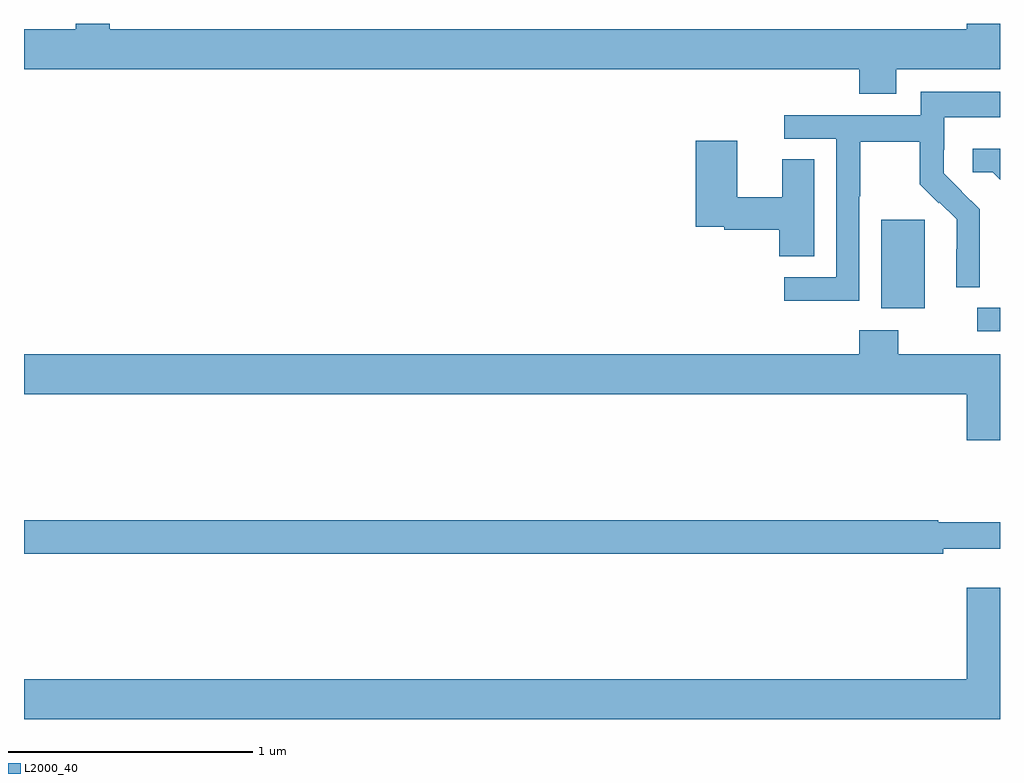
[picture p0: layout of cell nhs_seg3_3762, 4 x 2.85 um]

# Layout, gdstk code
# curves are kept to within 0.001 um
import gdstk
lib = gdstk.Library(unit=1e-6, precision=1e-09)
def R(c, l, rs):  # rectangles x0, y0, x1, y1
    for r in rs: c.add(gdstk.rectangle(r[:2], r[2:], *l))
def P(c, l, *ps):  # polygons
    for p in ps: c.add(gdstk.Polygon(p, *l))
L2000_40 = (2000, 40)

nhs_seg3_3762 = lib.new_cell('nhs_seg3_3762')
R(nhs_seg3_3762, L2000_40, [(308.907,737.139,309,737.235), (308.513,737.234,308.692,737.595)])
P(nhs_seg3_3762, L2000_40, [(308.575,738.212),(309,738.212),(309,738.4),(308.864,738.4),(308.864,738.376),(305.352,738.376),(305.352,738.4),(305.213,738.4),(305.213,738.376),(305,738.376),(305,738.212),(308.423,738.212),(308.423,738.113),(308.575,738.113)],
  [(308.424,737.692),(308.427,737.692),(308.427,737.916),(308.671,737.916),(308.671,737.741),(308.748,737.664),(308.751,737.667),(308.822,737.597),(308.822,737.474),(308.82,737.474),(308.82,737.32),(308.916,737.32),(308.916,737.638),(308.77,737.786),(308.77,737.883),(308.772,737.883),(308.772,738.017),(309,738.017),(309,738.121),(308.676,738.121),(308.676,738.024),(308.115,738.024),(308.115,737.928),(308.328,737.928),(308.328,737.361),(308.115,737.361),(308.115,737.263),(308.424,737.263)],
  [(308.239,737.843),(308.108,737.843),(308.108,737.689),(307.924,737.689),(307.924,737.92),(307.754,737.92),(307.754,737.567),(307.87,737.567),(307.87,737.555),(308.096,737.555),(308.096,737.446),(308.239,737.446)],
  [(309,737.887),(308.889,737.887),(308.889,737.79),(308.97,737.79),(309,737.76)],
  [(309,737.044),(308.583,737.044),(308.583,737.143),(308.423,737.143),(308.423,737.044),(305,737.044),(305,736.88),(308.864,736.88),(308.864,736.692),(309,736.692)],
  [(308.768,736.247),(309,736.247),(309,736.357),(308.746,736.357),(308.746,736.364),(305,736.364),(305,736.228),(308.768,736.228)],
  [(309,736.087),(308.864,736.087),(308.864,735.712),(305,735.712),(305,735.548),(309,735.548)])

lib.write_gds('nhs_seg3_3762.gds')
